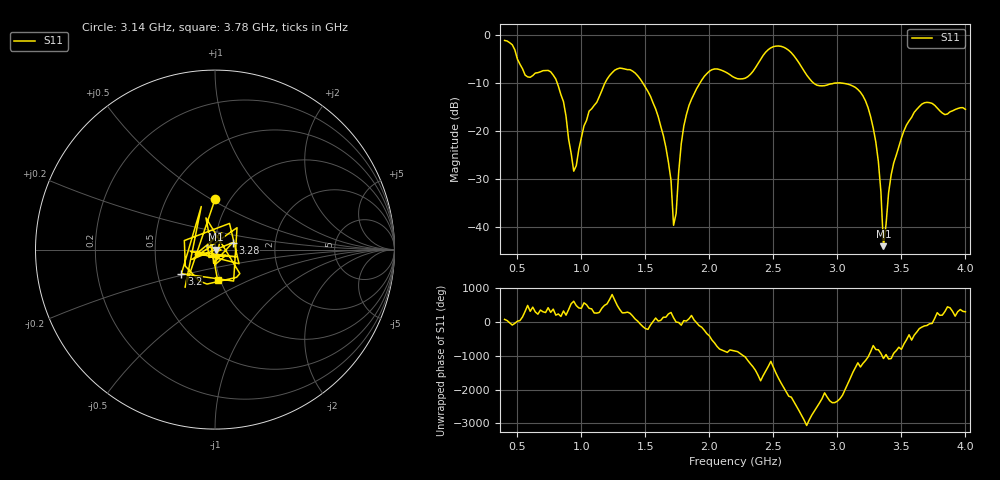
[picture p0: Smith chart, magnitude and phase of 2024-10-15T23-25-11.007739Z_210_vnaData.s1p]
! Created with skrf (http://scikit-rf.org).
# Hz S RI R 50.0
!freq ReS11 ImS11
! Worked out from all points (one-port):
!   181 points, 400 MHz to 4 GHz, reference 50 ohm
!   lowest |S11| = -44.1 dB at 3.36 GHz (marker M1), VSWR 1.01, Z = 50.6 - j0.0208 ohm
!   |S11| at or under -10 dB: 810.1 MHz to 1.186 GHz (375.5 MHz wide, 37.6 % of centre); 1.478 GHz to 1.928 GHz (449.5 MHz wide, 26.4 % of centre); 2.811 GHz to end of sweep
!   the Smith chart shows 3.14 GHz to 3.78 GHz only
!   S11 on the Smith chart (normalised r, x): 3.14 GHz: 0.85, +0.52; 3.2 GHz: 0.66, -0.19; 3.28 GHz: 1.21, +0.10; 3.78 GHz: 0.97, -0.34
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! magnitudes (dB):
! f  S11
! 400 MHz  -1.2
! 580 MHz  -8.8
! 760 MHz  -7.7
! 860 MHz  -14.0
! 940 MHz  -28.4
! 1.06 GHz  -15.9
! 1.3 GHz  -7.0
! 1.58 GHz  -15.5
! 1.68 GHz  -26.6
! 1.72 GHz  -39.7
! 1.74 GHz  -37.3
! 1.76 GHz  -28.6
! 1.82 GHz  -16.7
! 1.92 GHz  -10.3
! 2.2 GHz  -9.0
! 2.5 GHz  -2.5
! 2.66 GHz  -4.4
! 2.84 GHz  -10.5
! 3.1 GHz  -10.5
! 3.14 GHz  -11.0
! 3.2 GHz  -12.8
! 3.28 GHz  -19.5
! 3.32 GHz  -26.4
! 3.36 GHz  -44.1
! 3.42 GHz  -29.2
! 3.56 GHz  -18.0
! 3.78 GHz  -15.3
! 4 GHz  -15.5
